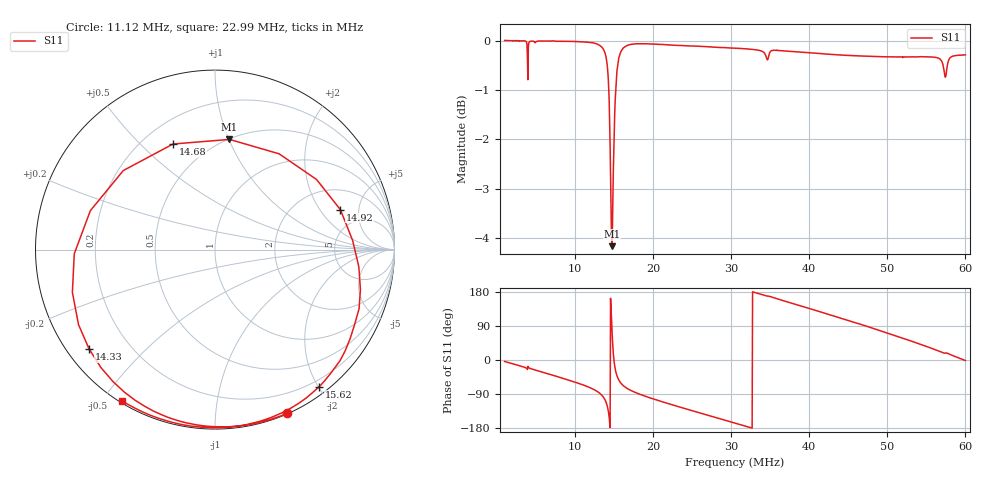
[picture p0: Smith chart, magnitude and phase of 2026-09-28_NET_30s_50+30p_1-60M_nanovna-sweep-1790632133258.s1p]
! NanoVNA Web complex sweep
! Processing: unaveraged complex samples; linear segment spacing; no smoothing
# Hz S RI R 50
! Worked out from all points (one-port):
!   1010 points, 1 MHz to 60 MHz, reference 50 ohm
!   lowest |S11| = -4.2 dB at 14.74 MHz (marker M1), VSWR 4.25, Z = 25.2 + j50.2 ohm
!   |S11| at or under -10 dB: nowhere
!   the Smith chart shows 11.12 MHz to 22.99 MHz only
!   S11 on the Smith chart (normalised r, x): 11.12 MHz: 0.01, -1.53; 14.33 MHz: 0.06, -0.35; 14.68 MHz: 0.32, +0.63; 14.92 MHz: 3.29, +3.17; 15.62 MHz: 0.10, -2.01; 22.99 MHz: 0.01, -0.56
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1000000  0.9979 -0.0672
4391492  0.9179 -0.3927
8426198  0.6673 -0.7426
1.1116e7  0.4007 -0.9128
1.275327e7  0.1441 -0.982
1.368886e7  -0.1573 -0.9659
1.409818e7  -0.4466 -0.8384
1.433207e7  -0.7017 -0.5529
1.450749e7  -0.7841 -0.0231
1.468292e7  -0.2338 0.5883
1.474139e7  0.0807 0.6139
1.491681e7  0.6987 0.2225
1.515071e7  0.8025 -0.33
1.53846e7  0.6975 -0.6175
1.56185e7  0.5816 -0.7635
1.579392e7  0.5081 -0.8265
1.661256e7  0.2726 -0.9494
1.807441e7  0.0262 -0.9922
2.298622e7  -0.5162 -0.8436
2.316165e7  -0.5316 -0.8338
3.052937e7  -0.9559 -0.2266
3.368697e7  -0.972 0.0984
3.789709e7  -0.8354 0.5023
4.526482e7  -0.2126 0.942
4.894868e7  0.1936 0.9436
5.263254e7  0.5794 0.7687
5.637488e7  0.8677 0.4125
6.000027e7  0.9668 -0.0232
